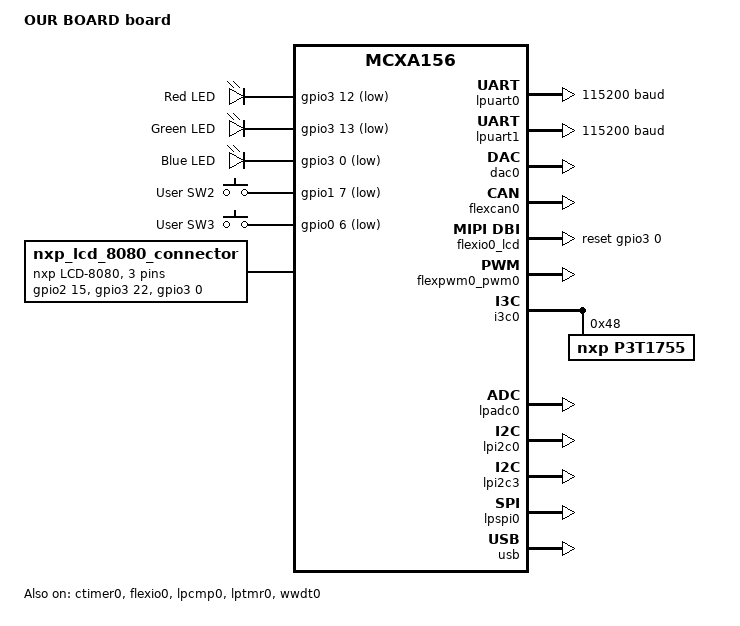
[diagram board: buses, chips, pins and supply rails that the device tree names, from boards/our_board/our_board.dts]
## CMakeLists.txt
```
# cmake_minimum_required(VERSION 3.20.0)

# list(APPEND BOARD_ROOT ${CMAKE_CURRENT_SOURCE_DIR})
# find_package(Zephyr REQUIRED)
# project(my_zephyr_app)

# target_sources(app PRIVATE src/main.cpp)
# target_sources(app PRIVATE src/sensorr.c)

# add_subdirectory(drivers/our_driver)

cmake_minimum_required(VERSION 3.20.0)

find_package(Zephyr REQUIRED HINTS $ENV{ZEPHYR_BASE})

project(my_zephyr_app)

target_sources(app PRIVATE
    src/main.c
    drivers/our_driver/our_driver.c
    drivers/our_driver/our_driver_shell.c

)
add_subdirectory(drivers/our_driver)
target_include_directories(app PRIVATE src)
```

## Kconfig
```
# # choice
# #     prompt "Select the LED blinking pattern"
# #     default BLINK_SLEEP_2500MS

# # config BLINK_SLEEP_250MS
# #     bool "250 ms"

# # config BLINK_SLEEP_2500MS
# #     bool "2500 ms"

# # config BLINK_SLEEP_3000MS
# #     bool "3000 ms"

# # endchoice

# # config BLINK_SLEEP_TIME_MS
# #     int 
# #     default 250 if BLINK_SLEEP_250MS
# #     default 2500 if BLINK_SLEEP_2500MS
# #     default 3000 if BLINK_SLEEP_3000MS
# #     default 0
# #     #range 100 5000
# #     help
# #       help string can be multiple lines
# #       and will be shown in the menuconfig interface when the user selects this option.

# # # -------------------------------
# # # Advanced Settings (submenu)
# # # -------------------------------
# # menuconfig LED_ADVANCED
# #     bool "Advanced LED settings"
# #     default n

# # if LED_ADVANCED

# # config LED_BRIGHTNESS
# #     int "LED brightness"
# #     range 0 100
# #     default 100

# # config LED_FADE_DURATION
# #     int "LED fade duration (ms)"
# #     range 0 5000
# #     default 500

# # # -------------------------------
# # # Expert Settings (visible if)
# # # -------------------------------
# # menu "Expert settings"
# #     visible if LED_ADVANCED

# # config LED_DEBUG
# #     bool "Enable LED debugging"
# #     default n

# # config LED_CUSTOM_PATTERN
# #     bool "Custom blink pattern"
# #     default n

# # endmenu

# # endif # LED_ADVANCED

# # #endif # LED_SUBSYSTEM

# # source "Kconfig.zephyr"


menuconfig LED_SUBSYSTEM
    bool "LED Subsystem"
    default y

if LED_SUBSYSTEM

# -------------------------------
# Blink sleep time (submenu)
# -------------------------------
menu "LED blink sleep time"

choice LED_BLINK_PATTERN
    prompt "Select the LED blinking pattern"
    default BLINK_SLEEP_500MS

config BLINK_SLEEP_250MS
    bool "250 ms"

config BLINK_SLEEP_500MS
    bool "500 ms"

config BLINK_SLEEP_1000MS
    bool "1s (medium)"

config BLINK_SLEEP_2000MS
    bool "2s"

endchoice

endmenu

# Hidden mapping
config BLINK_SLEEP_TIME_MS
    int
    default 250 if BLINK_SLEEP_250MS
    default 500 if BLINK_SLEEP_500MS
    default 1000 if BLINK_SLEEP_1000MS
    default 2000 if BLINK_SLEEP_2000MS

config APP_HEARTBEAT_PERIOD_MS
    int "Heartbeat period (ms)"
    range 100 2000
    default 500

# -------------------------------
# Advanced Settings (submenu)
# -------------------------------
menuconfig LED_ADVANCED
    bool "Advanced LED settings"
    default n

if LED_ADVANCED

config LED_BRIGHTNESS
    int "LED brightness"
    range 0 100
    default 100

config LED_FADE_DURATION
    int "LED fade duration (ms)"
    range 0 5000
    default 500

# -------------------------------
# Expert Settings
# -------------------------------
menu "Expert settings"

config LED_DEBUG
    bool "Enable LED debugging"
    default n

config LED_CUSTOM_PATTERN
    bool "Custom blink pattern"
    default n

endmenu

endif # LED_ADVANCED

endif # LED_SUBSYSTEM

source "Kconfig.zephyr"
rsource "drivers/our_driver/Kconfig" 
```

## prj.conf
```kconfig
CONFIG_GPIO=y  
CONFIG_LOG=y
CONFIG_LOG_MODE_DEFERRED=y
CONFIG_PRINTK=y
CONFIG_CONSOLE=y
CONFIG_UART_CONSOLE=y
CONFIG_SENSOR=y
CONFIG_SHELL=y
CONFIG_SHELL_BACKEND_SERIAL=y
CONFIG_SERIAL=y
```

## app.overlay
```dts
/ {
    leds {
        compatible = "gpio-leds";

        red_led: led_0 {
            gpios = <&gpio0 13 GPIO_ACTIVE_HIGH>;
            label = "Red LED";
        };
    };

        our_driver0: our_driver0 {
            compatible = "iomico,sensor";
            status = "okay";
    };

    our_driver1: our_driver1 {
            compatible = "iomico,sensor";
            status = "okay";
    };

    aliases {
        app-led = &red_led;
    };
};


//app-led 
```

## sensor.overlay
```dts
/ {
    our_driver0: our_driver0 {
        compatible = "iomico,sensor";
        status = "okay";
    };

    our_driver1: our_driver1 {
        compatible = "iomico,sensor";
        status = "okay";
    };    
};
```

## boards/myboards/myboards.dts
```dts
/dts-v1/;

#include <nxp/nxp_mcxa156.dtsi>

/ {
	 model = "My Board";
	 compatible = "iomico,myboards";  
     
     aliases {
		led0 = &red_led;
		led1 = &green_led;
		led2 = &blue_led;
     };

     chosen {
		zephyr,sram = &sram0;
		zephyr,flash = &flash;
		zephyr,flash-controller = &fmu;
		zephyr,code-partition = &slot0_partition;
     };

     leds {
            compatible = "gpio-leds";
		    red_led: led_0 {
                gpios = <&gpio3 12 GPIO_ACTIVE_LOW>;
                label = "Red LED";
		    };
		    green_led: led_1 {
                gpios = <&gpio3 13 GPIO_ACTIVE_LOW>;
                label = "Green LED";
		    };
		    blue_led: led_2 {
                gpios = <&gpio3 0 GPIO_ACTIVE_LOW>;
                label = "Blue LED";
		    };
	    };
};

&gpio3 {
	status = "okay";
};

&flash {
	partitions {
		compatible = "fixed-partitions";
		#address-cells = <1>;
		#size-cells = <1>;

		boot_partition: partition@0 {
			label = "mcuboot";
			reg = <0x00000000 DT_SIZE_K(64)>;
			read-only;
		};
		slot0_partition: partition@10000 {
			label = "image-0";
			reg = <0x00010000 DT_SIZE_K(424)>;
		};
		slot1_partition: partition@7a000 {
			label = "image-1";
			reg = <0x0007a000 DT_SIZE_K(424)>;
		};
		storage_partition: partition@e4000 {
			label = "storage";
			reg = <0x000e4000 DT_SIZE_K(112)>;
		};
	};
};
```

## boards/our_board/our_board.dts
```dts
/*
 * Copyright 2024 NXP
 *
 * SPDX-License-Identifier: Apache-2.0
 */

/dts-v1/;

#include <nxp/nxp_mcxa156.dtsi>
#include "frdm_mcxa156-pinctrl.dtsi"
#include <zephyr/dt-bindings/input/input-event-codes.h>
#include <freq.h>

/ {
	model = "OUR BOARD board";
	compatible = "nxp,mcxa156", "nxp,mcx";

	aliases{
		led0 = &red_led;
		led1 = &green_led;
		led2 = &red_led;
		sw0 = &user_button_2;
		sw1 = &user_button_3;
		pwm-0 = &flexpwm0_pwm0;
		mcuboot-button0 = &user_button_2;
		watchdog0 = &wwdt0;
		ambient-temp0 = &p3t1755;
	};

	chosen {
		zephyr,sram = &sram0;
		zephyr,flash = &flash;
		zephyr,flash-controller = &fmu;
		zephyr,code-partition = &slot0_partition;
		zephyr,console = &lpuart0;
		zephyr,shell-uart = &lpuart0;
		zephyr,uart-mcumgr = &lpuart0;
		zephyr,canbus = &flexcan0;
	};

	leds {
		compatible = "gpio-leds";
		red_led: led_0 {
			gpios = <&gpio3 12 GPIO_ACTIVE_LOW>;
			label = "Red LED";
		};
		green_led: led_1 {
			gpios = <&gpio3 13 GPIO_ACTIVE_LOW>;
			label = "Green LED";
		};
		blue_led: led_2 {
			gpios = <&gpio3 0 GPIO_ACTIVE_LOW>;
			label = "Blue LED";
		};
	};

	gpio_keys {
		compatible = "gpio-keys";
		user_button_2: button_2 {
			label = "User SW2";
			gpios = <&gpio1 7 GPIO_ACTIVE_LOW>;
			zephyr,code = <INPUT_KEY_0>;
		};
		user_button_3: button_3 {
			label = "User SW3";
			gpios = <&gpio0 6 GPIO_ACTIVE_LOW>;
			zephyr,code = <INPUT_KEY_1>;
		};
	};

	/*
	 * This node describes the GPIO pins of the LCD-PAR-S035 panel 8080 interface.
	 */
	nxp_lcd_8080_connector: lcd-8080-connector {
		compatible = "nxp,lcd-8080";
		#gpio-cells = <2>;
		gpio-map-mask = <0xffffffff 0xffffffc0>;
		gpio-map-pass-thru = <0 0x3f>;
		gpio-map =	<9  0 &gpio2 15 0>,	/* Pin 9, LCD touch INT */
				<10  0 &gpio3 22 0>,	/* Pin 10, LCD backlight control */
				<11  0 &gpio3 0 0>;	/* Pin 11, LCD and touch reset */
	};
};

&gpio0 {
	status = "okay";
};

&gpio1 {
	status = "okay";
};

&gpio2 {
	status = "okay";
};

&gpio3 {
	status = "okay";
};

&gpio4 {
	status = "okay";
};

&lpuart0 {
	status = "okay";
	current-speed = <115200>;
	pinctrl-0 = <&pinmux_lpuart0>;
	pinctrl-names = "default";
};

&lpuart1 {
	status = "okay";
	current-speed = <115200>;
	pinctrl-0 = <&pinmux_lpuart1>;
	pinctrl-names = "default";
};

&ctimer0 {
	status = "okay";
};

&dac0 {
	status = "okay";
	pinctrl-0 = <&pinmux_dac0>;
	pinctrl-names = "default";
};

&edma0 {
	status = "okay";
};

&flexcan0 {
	status = "okay";
	pinctrl-0 = <&pinmux_flexcan0>;
	pinctrl-names = "default";
};

&flexio0 {
	status = "okay";
};

nxp_8080_touch_panel_i2c: &lpi2c2 {
	pinctrl-0 = <&pinmux_lpi2c2>;
	pinctrl-names = "default";
};

zephyr_mipi_dbi_parallel: &flexio0_lcd {
	/* DMA channels 0, muxed to FlexIO TX */
	dmas = <&edma0 0 71>;
	dma-names = "tx";
	shifters-count = <4>;
	timers-count = <1>;
	enwr-pin = <31>;
	rd-pin = <28>;
	data-pin-start = <0>;
	reset-gpios = <&gpio3 0 GPIO_ACTIVE_HIGH>;
	cs-gpios = <&gpio2 19 GPIO_ACTIVE_HIGH>;
	rs-gpios = <&gpio2 17 GPIO_ACTIVE_HIGH>;
	pinctrl-0 = <&pinmux_flexio_lcd>;
	pinctrl-names = "default";
};

&flexpwm0_pwm0 {
	status = "okay";
	pinctrl-0 = <&pinmux_flexpwm0_pwm0>;
	pinctrl-names = "default";
};

&i3c0 {
	status = "okay";
	pinctrl-0 = <&pinmux_i3c0>;
	pinctrl-names = "default";

	i2c-scl-hz = <DT_FREQ_K(400)>;
	i3c-scl-hz = <DT_FREQ_M(4)>;
	i3c-od-scl-hz = <DT_FREQ_K(1500)>;

	p3t1755: p3t1755@4800000236152a0090 {
		compatible = "nxp,p3t1755";
		reg = <0x48 0x0236 0x152a0090>;
		status = "okay";
	};
};

&lpadc0 {
	status = "okay";
	pinctrl-0 = <&pinmux_lpadc0>;
	pinctrl-names = "default";
};

&lpcmp0 {
	status = "okay";
	pinctrl-0 = <&pinmux_lpcmp0>;
	pinctrl-names = "default";
};

&lpi2c0 {
	status = "okay";
	pinctrl-0 = <&pinmux_lpi2c0>;
	pinctrl-names = "default";
};

&lpi2c3 {
	status = "okay";
	pinctrl-0 = <&pinmux_lpi2c3>;
	pinctrl-names = "default";
};

&lpspi0 {
	status = "okay";
	pinctrl-0 = <&pinmux_lpspi0>;
	pinctrl-names = "default";
};

&lptmr0 {
	status = "okay";
};

zephyr_udc0: &usb {
	status = "okay";
	num-bidir-endpoints = <8>;
};

&wwdt0 {
	status = "okay";
};

&flash {
	partitions {
		compatible = "fixed-partitions";
		#address-cells = <1>;
		#size-cells = <1>;

		boot_partition: partition@0 {
			label = "mcuboot";
			reg = <0x00000000 DT_SIZE_K(64)>;
			read-only;
		};
		slot0_partition: partition@10000 {
			label = "image-0";
			reg = <0x00010000 DT_SIZE_K(424)>;
		};
		slot1_partition: partition@7a000 {
			label = "image-1";
			reg = <0x0007a000 DT_SIZE_K(424)>;
		};
		storage_partition: partition@e4000 {
			label = "storage";
			reg = <0x000e4000 DT_SIZE_K(112)>;
		};
	};
};
```

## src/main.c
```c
// #include <zephyr/drivers/gpio.h>
// #include <zephyr/kernel.h>
// #include <zephyr/logging/log.h>
// #include <zephyr/drivers/sensor.h>

// #define MY_DEV DT_NODELABEL(our_driver)

// #define SLEEP_TIME_MS 1000

// /* The devicetree node identifier for the "led0" alias. */
// #define LED_NODE DT_ALIAS(app_led)

// static const struct gpio_dt_spec led = GPIO_DT_SPEC_GET(LED_NODE, gpios);

// LOG_MODULE_REGISTER(main, LOG_LEVEL_INF);

// // namespace {
// //     void test() {
// //         const struct device *dev = DEVICE_DT_GET(DT_NODELABEL(our_driver));
// //         struct sensor_value val;
// //         auto ret = sensor_channel_get(dev, SENSOR_CHAN_AMBIENT_TEMP, &val);
// //         LOG_INF("channel ret %d", ret);
// //     }   // You can add any additional functions or variables here if needed
// // }

// void test_sensor(void)
// {
//     const struct device *dev = DEVICE_DT_GET(MY_DEV);

//     struct sensor_value val;

//     sensor_sample_fetch(dev);
//     sensor_channel_get(dev, SENSOR_CHAN_AMBIENT_TEMP, &val);

// }

// extern "C" void testable_sensor(void);

// int main(void)
// {

//     bool led_state = true;

//     if (!gpio_is_ready_dt(&led)) return 0;

//     if (gpio_pin_configure_dt(&led, GPIO_OUTPUT_ACTIVE) < 0) return 0;

//     while (1) {
//         if (gpio_pin_toggle_dt(&led) < 0) return 0;

//         led_state = !led_state;
//         LOG_INF("LED state: %s", led_state ? "ON" : "OFF");
//         LOG_INF("Iomico course setup complete!");
//         //k_msleep(CONFIG_BLINK_SLEEP_TIME_MS); 
//         k_msleep(CONFIG_APP_HEARTBEAT_PERIOD_MS);  
//     }
//     testable_sensor();
//     return 0;
// }

#include <zephyr/kernel.h>
#include <zephyr/device.h>
#include <zephyr/drivers/sensor.h>
#include <zephyr/sys/printk.h>

#include "our_driver.h"

#define MY_DEV DT_NODELABEL(our_driver0)

int main(void)
{
    const struct device *dev = DEVICE_DT_GET(MY_DEV);

    if (!device_is_ready(dev)) {
        printk("Device not ready\n");
        return 0;
    }

    printk("Device ready\n");

    struct sensor_value val;

    /* ---------------------------------- */
    /* SENSOR API */
    /* ---------------------------------- */

    sensor_sample_fetch(dev);

    sensor_channel_get(dev,
                       SENSOR_CHAN_ALL,
                       &val);

    printk("Sensor Value = %d\n", val.val1);

    /* ---------------------------------- */
    /* CUSTOM EXTENSION API */
    /* ---------------------------------- */

    const struct my_sensor_api *api =
        (const struct my_sensor_api *)dev->api;

    api->set_led_state(dev, 1);

    sensor_channel_get(dev,
                       SENSOR_CHAN_ALL,
                       &val);

    printk("Updated Sensor Value = %d\n",
           val.val1);

    return 0;
}
```

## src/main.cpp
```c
#include <zephyr/drivers/gpio.h>
#include <zephyr/kernel.h>
#include <zephyr/logging/log.h>
#include <zephyr/drivers/sensor.h>

#define MY_DEV DT_NODELABEL(our_driver)

#define SLEEP_TIME_MS 1000

/* The devicetree node identifier for the "led0" alias. */
#define LED_NODE DT_ALIAS(app_led)

static const struct gpio_dt_spec led = GPIO_DT_SPEC_GET(LED_NODE, gpios);

LOG_MODULE_REGISTER(main, LOG_LEVEL_INF);

// namespace {
//     void test() {
//         const struct device *dev = DEVICE_DT_GET(DT_NODELABEL(our_driver));
//         struct sensor_value val;
//         auto ret = sensor_channel_get(dev, SENSOR_CHAN_AMBIENT_TEMP, &val);
//         LOG_INF("channel ret %d", ret);
//     }   // You can add any additional functions or variables here if needed
// }

void test_sensor(void)
{
    const struct device *dev = DEVICE_DT_GET(MY_DEV);

    struct sensor_value val;

    sensor_sample_fetch(dev);
    sensor_channel_get(dev, SENSOR_CHAN_AMBIENT_TEMP, &val);

}

extern "C" void testable_sensor(void);

int main(void)
{

    bool led_state = true;

    if (!gpio_is_ready_dt(&led)) return 0;

    if (gpio_pin_configure_dt(&led, GPIO_OUTPUT_ACTIVE) < 0) return 0;

    while (1) {
        if (gpio_pin_toggle_dt(&led) < 0) return 0;

        led_state = !led_state;
        LOG_INF("LED state: %s", led_state ? "ON" : "OFF");
        LOG_INF("Iomico course setup complete!");
        //k_msleep(CONFIG_BLINK_SLEEP_TIME_MS); 
        k_msleep(CONFIG_APP_HEARTBEAT_PERIOD_MS);  
    }
    testable_sensor();
    return 0;
}
```

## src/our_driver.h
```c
#ifndef OUR_DRIVER_H
#define OUR_DRIVER_H

#include <zephyr/device.h>
#include <zephyr/drivers/sensor.h>

typedef int (*set_led_state_t)(const struct device *dev,
                               int state);

struct my_sensor_api {
    struct sensor_driver_api sensor_api;

    set_led_state_t set_led_state;
};

#endif
```

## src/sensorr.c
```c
#include <zephyr/drivers/sensor.h>

void testable_sensor(void)
{
    const struct device *dev =
        DEVICE_DT_GET(DT_NODELABEL(our_driver0));

    if (!device_is_ready(dev)) {
        printk("Device not ready\n");
        return;
    }

    printk("Sensor ready\n");
}
```
